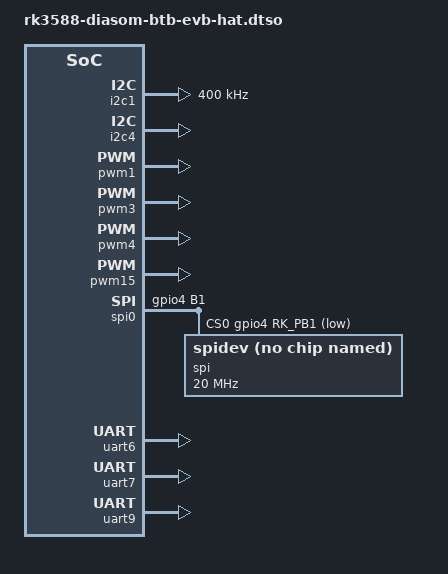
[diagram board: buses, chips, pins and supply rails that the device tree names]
/* SPDX-License-Identifier: GPL-2.0+ */
/* SPDX-FileCopyrightText: Alexander Shiyan <shc_work@mail.ru> */

/dts-v1/;
/plugin/;

#include <dt-bindings/gpio/gpio.h>
#include <dt-bindings/pinctrl/rockchip.h>

&{/} {
	model = "Diasom DS-RK3588-BTB-EVB-HAT";
	compatible = "diasom,ds-rk3588-btb-evb-hat",
		     "diasom,ds-rk3588-btb-evb",
		     "diasom,ds-rk3588-btb",
		     "rockchip,rk3588";
};

&i2c1 {
	pinctrl-0 = <&i2c1m4_xfer>;
	clock-frequency = <400000>;
	status = "okay";
	#address-cells = <1>;
	#size-cells = <0>;
};

&i2c4 {
	pinctrl-0 = <&i2c4m4_xfer>;
	status = "okay";
	#address-cells = <1>;
	#size-cells = <0>;
};

&pwm1 {
	pinctrl-0 = <&pwm1m2_pins>;
	status = "okay";
	#pwm-cells = <3>;
};

&pwm3 {
	pinctrl-0 = <&pwm3m3_pins>;
	status = "okay";
	#pwm-cells = <3>;
};

&pwm4 {
	pinctrl-0 = <&pwm4m1_pins>;
	status = "okay";
	#pwm-cells = <3>;
};

&pwm15 {
	pinctrl-0 = <&pwm15m3_pins>;
	status = "okay";
	#pwm-cells = <3>;
};

&spi0 {
	pinctrl-0 = <&spi0m1_pins &spi0_cs0>;
	num-cs = <1>;
	cs-gpios = <&gpio4 RK_PB1 GPIO_ACTIVE_LOW>;
	status = "okay";
	#address-cells = <1>;
	#size-cells = <0>;

	spi@0 {
		compatible = "rohm,dh2228fv";
		reg = <0>;
		spi-max-frequency = <20000000>;
	};
};

&uart6 {
	status = "okay";
};

&uart7 {
	pinctrl-0 = <&uart7m2_xfer>;
	status = "okay";
};

&uart9 {
	status = "okay";
};

&pinctrl {
	spi-bus {
		spi0_cs0: spi0-cs0-pins {
			rockchip,pins =
				<4 RK_PB1 RK_FUNC_GPIO &pcfg_pull_up>;
		};
	};
};
